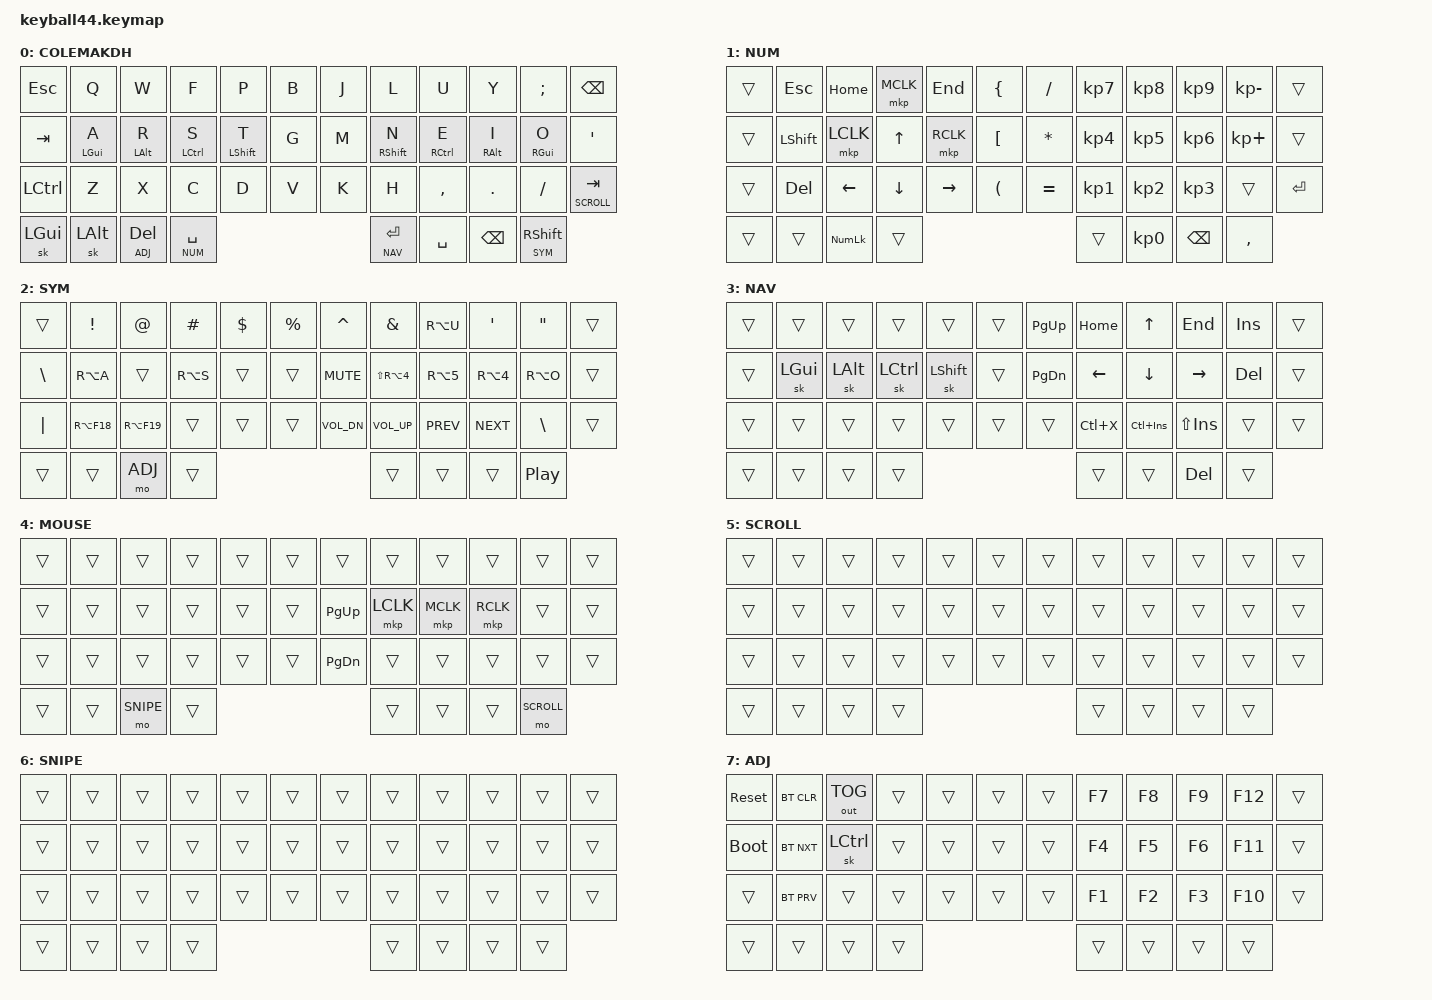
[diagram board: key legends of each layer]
// ─── Colemak-DH keymap for Keyball 44 ────────────────────────────────────────
//
// Ported from the Totem keymap (same user, 38-key board) with additions for
// the Keyball 44's extra outer column, larger thumb cluster, and trackball.
//
// Highlights:
//  • Colemak-DH base layout
//  • Timeless homerow mods (urob's approach — balanced + positional hold-tap)
//      Left:  A=GUI  R=ALT  S=CTRL  T=SFT
//      Right:             N=SFT  E=CTRL  I=ALT  O=GUI
//  • Bracket/symbol combos matching the Totem (horizontal adjacent-key pairs)
//  • NUM, SYM, NAV, ADJ layers matching Totem structure
//  • MOUSE layer (4) auto-activated by trackball, buttons on right home-row
//  • SCROLL (5) — hold from mouse-layer thumb for scroll-wheel trackball
//  • SNIPE  (6) — hold from mouse-layer thumb for precision trackball
//
// Reference: https://github.com/urob/zmk-config (timeless HRM approach)
// ─────────────────────────────────────────────────────────────────────────────

#define COLEMAKDH 0
#define NUM       1
#define SYM       2
#define NAV       3
#define MOUSE     4
#define SCROLL    5
#define SNIPE     6
#define ADJ       7

#include <behaviors/mouse_keys.dtsi>
#include <behaviors.dtsi>
#include <dt-bindings/zmk/bt.h>
#include <dt-bindings/zmk/keys.h>
#include <dt-bindings/zmk/mouse.h>
#include <dt-bindings/zmk/outputs.h>

// ─── Physical key position map ───────────────────────────────────────────────
//
//  ┌─────┬─────┬─────┬─────┬─────┬─────┐                   ┌─────┬─────┬─────┬─────┬─────┬─────┐
//  │  0  │  1  │  2  │  3  │  4  │  5  │                   │  6  │  7  │  8  │  9  │ 10  │ 11  │
//  ├─────┼─────┼─────┼─────┼─────┼─────┤                   ├─────┼─────┼─────┼─────┼─────┼─────┤
//  │ 12  │ 13  │ 14  │ 15  │ 16  │ 17  │                   │ 18  │ 19  │ 20  │ 21  │ 22  │ 23  │
//  ├─────┼─────┼─────┼─────┼─────┼─────┤                   ├─────┼─────┼─────┼─────┼─────┼─────┤
//  │ 24  │ 25  │ 26  │ 27  │ 28  │ 29  │                   │ 30  │ 31  │ 32  │ 33  │ 34  │ 35  │
//  └─────┴─────┴─────┼─────┼─────┼─────┼─────┐   ┌─────────┼─────┼─────┼─────┴─────┴─────┴─────┘
//                    │ 36  │ 37  │ 38  │ 39  │ 40 │   41    │ 42  │ 43  │
//                    └─────┴─────┴─────┴─────┴────┘─────────┴─────┴─────┘
//                                                  [trackball between 40..41]
//
// Left hand keys  (used in right-HRM positional check): 0-5, 12-17, 24-29
// Right hand keys (used in left-HRM positional check):  6-11, 18-23, 30-35
// Thumb keys (both HRMs treat these as "safe"):         36-43

#define KEYS_L 0 1 2 3 4 5 12 13 14 15 16 17 24 25 26 27 28 29
#define KEYS_R 6 7 8 9 10 11 18 19 20 21 22 23 30 31 32 33 34 35
#define THUMBS 36 37 38 39 40 41 42 43

// ─── Behavior overrides ───────────────────────────────────────────────────────

&nice_view_spi { cs-gpios = <&pro_micro 1 GPIO_ACTIVE_HIGH>; };

// Layer-tap: balanced so a quick tap+hold still fires the tap action
&lt {
    tapping-term-ms = <200>;
    flavor = "balanced";
    quick-tap-ms = <150>;
};

// Caps-word: keep rolling through _ and - without deactivating
&caps_word { continue-list = <UNDERSCORE MINUS>; };

/ {
    behaviors {
        // ── Left-hand homerow mods (timeless — urob) ─────────────────────
        //
        // Strategy:
        //   balanced  → hold fires if another key is pressed AND released within
        //               tapping-term; avoids waiting the full 280 ms in practice.
        //   require-prior-idle-ms → immediately resolves as tap when typed
        //               shortly after a previous keystroke (eliminates delays).
        //   hold-trigger-key-positions → mod only activates when the concurrent
        //               key is on the RIGHT hand or a thumb.
        //   hold-trigger-on-release → delays the positional check until the
        //               concurrent key is released; allows same-side HRM chording
        //               when held long enough (e.g. mouse-side mod + alpha).
        //
        hml: hml {
            compatible = "zmk,behavior-hold-tap";
            label = "HML";
            #binding-cells = <2>;
            flavor = "balanced";
            tapping-term-ms = <280>;
            quick-tap-ms = <175>;
            require-prior-idle-ms = <150>;
            bindings = <&kp>, <&kp>;
            hold-trigger-key-positions = <KEYS_R THUMBS>;
            hold-trigger-on-release;
        };

        // ── Right-hand homerow mods ───────────────────────────────────────
        hmr: hmr {
            compatible = "zmk,behavior-hold-tap";
            label = "HMR";
            #binding-cells = <2>;
            flavor = "balanced";
            tapping-term-ms = <280>;
            quick-tap-ms = <175>;
            require-prior-idle-ms = <150>;
            bindings = <&kp>, <&kp>;
            hold-trigger-key-positions = <KEYS_L THUMBS>;
            hold-trigger-on-release;
        };
    };

    // ── Combos (base layer only; 30 ms window matches the Totem) ─────────────
    //
    // Left side  — adjacent horizontal pairs produce bracket/paren symbols
    //   Row 0:  Q+W → ESC    W+F → {    F+P → }
    //   Row 1:  R+S → (      S+T → )
    //   Row 2:  X+C → [      C+D → ]
    //
    // Right side — adjacent horizontal pairs produce operator symbols
    //   Row 0:  L+U → -     U+Y → _
    //   Row 1:  N+E → *     E+I → =
    //   Row 2:  H+, → <     ,+. → >
    //
    combos {
        compatible = "zmk,combos";

        // Left — row 0
        combo_esc   { timeout-ms = <30>; key-positions = < 1  2>; bindings = <&kp ESC>;  layers = <COLEMAKDH>; };
        combo_lbrc  { timeout-ms = <30>; key-positions = < 2  3>; bindings = <&kp LBRC>; layers = <COLEMAKDH>; };
        combo_rbrc  { timeout-ms = <30>; key-positions = < 3  4>; bindings = <&kp RBRC>; layers = <COLEMAKDH>; };
        // Left — row 1
        combo_lpar  { timeout-ms = <30>; key-positions = <14 15>; bindings = <&kp LPAR>; layers = <COLEMAKDH>; };
        combo_rpar  { timeout-ms = <30>; key-positions = <15 16>; bindings = <&kp RPAR>; layers = <COLEMAKDH>; };
        // Left — row 2
        combo_lbkt  { timeout-ms = <30>; key-positions = <26 27>; bindings = <&kp LBKT>; layers = <COLEMAKDH>; };
        combo_rbkt  { timeout-ms = <30>; key-positions = <27 28>; bindings = <&kp RBKT>; layers = <COLEMAKDH>; };

        // Right — row 0
        combo_minus { timeout-ms = <30>; key-positions = < 7  8>; bindings = <&kp MINUS>; layers = <COLEMAKDH>; };
        combo_under { timeout-ms = <30>; key-positions = < 8  9>; bindings = <&kp UNDER>; layers = <COLEMAKDH>; };
        // Right — row 1
        combo_astrk { timeout-ms = <30>; key-positions = <19 20>; bindings = <&kp ASTRK>; layers = <COLEMAKDH>; };
        combo_equal { timeout-ms = <30>; key-positions = <20 21>; bindings = <&kp EQUAL>;  layers = <COLEMAKDH>; };
        // Right — row 2
        combo_lt    { timeout-ms = <30>; key-positions = <31 32>; bindings = <&kp LT>;    layers = <COLEMAKDH>; };
        combo_gt    { timeout-ms = <30>; key-positions = <32 33>; bindings = <&kp GT>;    layers = <COLEMAKDH>; };
    };

    keymap {
        compatible = "zmk,keymap";

// ━━━━━━━━━━━━━━━━━━━━━━━━━━━━━━━━━━━━━━━━━━━━━━━━━━━━━━━━━━━━━━━━━━━━━━━━━━━
// 0 — Colemak-DH  (homerow mods: GACS order  ◆ ⎇ ⎈ ⇧)
// ━━━━━━━━━━━━━━━━━━━━━━━━━━━━━━━━━━━━━━━━━━━━━━━━━━━━━━━━━━━━━━━━━━━━━━━━━━━
//  ┌──────┬──────┬──────┬──────┬──────┬──────┐         ┌──────┬──────┬──────┬──────┬──────┬──────┐
//  │ ESC  │  Q   │  W   │  F   │  P   │  B   │         │  J   │  L   │  U   │  Y   │  ;   │ BSPC │
//  ├──────┼──────┼──────┼──────┼──────┼──────┤         ├──────┼──────┼──────┼──────┼──────┼──────┤
//  │ TAB  │A/GUI │R/ALT │S/CTL │T/SFT │  G   │         │  M   │N/SFT │E/CTL │I/ALT │O/GUI │  '   │
//  ├──────┼──────┼──────┼──────┼──────┼──────┤         ├──────┼──────┼──────┼──────┼──────┼──────┤
//  │ CTL  │  Z   │  X   │  C   │  D   │  V   │         │  K   │  H   │  ,   │  .   │  /   │SCRL/TAB │
//  └──────┴──────┴──┬───┴──┬───┴──┬───┴──┬───┴──┬───┐  ├──┬───┴──┬───┴──────┴──────┴──────┴──────┘
//                   │sGUI  │sALT  │ADJ/⌦│NUM/␣ │NAV/⏎│  │  ␣    │   ⌫│SYM/RSFT│
//                   └──────┴──────┴──────┴──────┴─────┘  └──────┴──────┴──────┘
//
// CAPS = caps-word (auto-disables after the word; continues through _ and -)
// sGUI/sALT = sticky (one-shot) modifier — tap to apply to the next key only
        colemak_dh_layer {
            label = "COLEMAKDH";
            bindings = <
&kp ESC    &kp Q         &kp W         &kp F          &kp P          &kp B            &kp J          &kp L         &kp U         &kp Y         &kp SEMI    &kp BSPC
&kp TAB    &hml LGUI A   &hml LALT R   &hml LCTRL S   &hml LSHFT T   &kp G            &kp M          &hmr RSHFT N  &hmr RCTRL E  &hmr RALT I   &hmr RGUI O &kp SQT
&kp LCTRL &kp Z         &kp X         &kp C          &kp D          &kp V            &kp K          &kp H         &kp COMMA     &kp DOT       &kp FSLH    &lt SCROLL TAB
&sk LGUI   &sk LALT      &lt ADJ DEL   &lt NUM SPACE  &lt NAV RET    &kp SPACE  &kp BSPC                                                   &lt SYM RSHFT 
            >;
        };

// ━━━━━━━━━━━━━━━━━━━━━━━━━━━━━━━━━━━━━━━━━━━━━━━━━━━━━━━━━━━━━━━━━━━━━━━━━━━
// 1 — Num  (hold NUM/␣ thumb)
//     Left: navigation cluster       Right: numpad
// ━━━━━━━━━━━━━━━━━━━━━━━━━━━━━━━━━━━━━━━━━━━━━━━━━━━━━━━━━━━━━━━━━━━━━━━━━━━
//  ┌──────┬──────┬──────┬──────┬──────┬──────┐         ┌──────┬──────┬──────┬──────┬──────┬──────┐
//  │      │ ESC  │ HOME │ MCLK │ END  │  {   │         │  /   │  7   │  8   │  9   │  -   │      │
//  ├──────┼──────┼──────┼──────┼──────┼──────┤         ├──────┼──────┼──────┼──────┼──────┼──────┤
//  │      │ SFT  │ LCLK │   ↑  │ RCLk │  [   │         │  *   │  4   │  5   │  6   │  +   │      │
//  ├──────┼──────┼──────┼──────┼──────┼──────┤         ├──────┼──────┼──────┼──────┼──────┼──────┤
//  │      │ DEL  │ ←    │  ↓   │  →   │  (   │         │  =   │  1   │  2   │  3   │      │  ⏎   │
//  └──────┴──────┴──┬───┴──┬───┴──┬───┴──┬───┴──┬───┐  ├──┬───┴──┬───┴──────┴──────┴──────┴──────┘
//                   │      │      │NUMLK │  ▓▓▓  │      │  │  0   │ BSPC │  ,   │
//                   └──────┴──────┴──────┴───────┴──────┘  └──────┴──────┴──────┘
        num_layer {
            label = "NUM";
            bindings = <
&trans     &kp ESC       &kp HOME      &mkp MCLK      &kp END        &kp LBRC         &kp FSLH       &kp KP_N7     &kp KP_N8     &kp KP_N9     &kp KP_MINUS &trans
&trans     &kp LSHFT     &mkp LCLK     &kp UP         &mkp RCLK      &kp LBKT         &kp ASTRK      &kp KP_N4     &kp KP_N5     &kp KP_N6     &kp KP_PLUS  &trans
&trans     &kp DEL       &kp LEFT      &kp DOWN       &kp RIGHT      &kp LPAR         &kp EQUAL      &kp KP_N1     &kp KP_N2     &kp KP_N3     &trans       &kp RET
&trans     &trans        &kp KP_NLCK   &trans         &trans         &kp KP_N0        &kp BSPC                                                  &kp COMMA
            >;
        };

// ━━━━━━━━━━━━━━━━━━━━━━━━━━━━━━━━━━━━━━━━━━━━━━━━━━━━━━━━━━━━━━━━━━━━━━━━━━━
// 2 — Sym  (hold SYM/⌫ thumb)
//     Symbols / German umlauts / Media controls
// ━━━━━━━━━━━━━━━━━━━━━━━━━━━━━━━━━━━━━━━━━━━━━━━━━━━━━━━━━━━━━━━━━━━━━━━━━━━
//  ┌──────┬──────┬──────┬──────┬──────┬──────┐         ┌──────┬──────┬──────┬──────┬──────┬──────┐
//  │      │  !   │  @   │  #   │  $   │  %   │         │  ^   │  &   │  Ü   │  '   │  "   │      │
//  ├──────┼──────┼──────┼──────┼──────┼──────┤         ├──────┼──────┼──────┼──────┼──────┼──────┤
//  │  \   │  Ä   │      │  ß   │      │      │         │ MUTE │  ¥   │  €   │  £   │  Ö   │      │
//  ├──────┼──────┼──────┼──────┼──────┼──────┤         ├──────┼──────┼──────┼──────┼──────┼──────┤
//  │  |   │EMAIL1│EMAIL2│      │      │      │         │ VOL- │ VOL+ │ PRV  │ NXT  │  \   │      │
//  └──────┴──────┴──┬───┴──┬───┴──┬───┴──┬───┴──┬───┐  ├──┬───┴──┬───┴──────┴──────┴──────┴──────┘
//                   │      │      │ ADJ  │      │      │  │      │  ▓▓▓ │  ⏯   │
//                   └──────┴──────┴──────┴───────┴──────┘  └──────┴──────┴──────┘
//
// EMAIL1/2 = RA(F18)/RA(F19) — assign these in your OS text expander
// Ü/Ä/ß/Ö  = AltGr combos for German (identical to Totem layout)
        sym_layer {
            label = "SYM";
            bindings = <
&trans     &kp EXCL      &kp AT        &kp HASH       &kp DLLR       &kp PRCNT        &kp CARET      &kp AMPS      &kp RA(U)     &kp SQT       &kp DQT      &trans
&kp BSLH   &kp RA(A)     &trans        &kp RA(S)      &trans         &trans           &kp C_MUTE     &kp LS(RA(N4)) &kp RA(N5)   &kp RA(N4)    &kp RA(O)    &trans
&kp PIPE   &kp RA(F18)   &kp RA(F19)   &trans         &trans         &trans           &kp C_VOL_DN   &kp C_VOL_UP  &kp C_PREV    &kp C_NEXT    &kp BSLH     &trans
&trans     &trans        &mo ADJ       &trans         &trans         &trans           &trans                                                    &kp C_PP
            >;
        };

// ━━━━━━━━━━━━━━━━━━━━━━━━━━━━━━━━━━━━━━━━━━━━━━━━━━━━━━━━━━━━━━━━━━━━━━━━━━━
// 3 — Nav  (hold NAV/⏎ thumb)
//     Left: one-shot mods for cross-hand shortcuts
//     Right: navigation cluster (arrows, page, home/end, clipboard)
// ━━━━━━━━━━━━━━━━━━━━━━━━━━━━━━━━━━━━━━━━━━━━━━━━━━━━━━━━━━━━━━━━━━━━━━━━━━━
//  ┌──────┬──────┬──────┬──────┬──────┬──────┐         ┌──────┬──────┬──────┬──────┬──────┬──────┐
//  │      │      │      │      │      │      │         │ PGUP │ HOME │  ↑   │ END  │ INS  │      │
//  ├──────┼──────┼──────┼──────┼──────┼──────┤         ├──────┼──────┼──────┼──────┼──────┼──────┤
//  │      │s-GUI │s-ALT │s-CTL │s-SFT │      │         │ PGDN │  ←   │  ↓   │  →   │ DEL  │      │
//  ├──────┼──────┼──────┼──────┼──────┼──────┤         ├──────┼──────┼──────┼──────┼──────┼──────┤
//  │      │      │      │      │      │      │         │      │ CUT  │ COPY │ PSTE │      │      │
//  └──────┴──────┴──┬───┴──┬───┴──┬───┴──┬───┴──┬───┐  ├──┬───┴──┬───┴──────┴──────┴──────┴──────┘
//                   │      │      │      │      │  ▓▓▓ │  │      │ DEL  │      │
//                   └──────┴──────┴──────┴───────┴──────┘  └──────┴──────┴──────┘
//
// CUT/COPY/PASTE = Ctrl+X / Ctrl+Insert / Shift+Insert (universal shortcuts)
        nav_layer {
            label = "NAV";
            bindings = <
&trans     &trans        &trans        &trans         &trans         &trans           &kp PG_UP      &kp HOME      &kp UP        &kp END       &kp INS      &trans
&trans     &sk LGUI      &sk LALT      &sk LCTRL      &sk LSHFT      &trans           &kp PG_DN      &kp LEFT      &kp DOWN      &kp RIGHT     &kp DEL      &trans
&trans     &trans        &trans        &trans         &trans         &trans           &trans         &kp LC(X)     &kp LC(INS)   &kp LS(INS)   &trans       &trans
&trans     &trans        &trans        &trans         &trans         &trans           &kp DEL                                                  &trans
            >;
        };

// ━━━━━━━━━━━━━━━━━━━━━━━━━━━━━━━━━━━━━━━━━━━━━━━━━━━━━━━━━━━━━━━━━━━━━━━━━━━
// 4 — Mouse  (auto-activated by trackball via automouse-layer = <4>)
//
//  Trackball moves the cursor automatically when this layer is active.
//  • Right home-row: LCLK / MCLK / RCLK for easy clicking without thumb strain
//  • Right thumbs:   LCLK / RCLK for comfortable clicking while scrolling
//  • Left thumb 38:  hold for SNIPE mode (slow/precise — activates layer 6)
//  • Right thumb 43: hold for SCROLL mode (scroll-wheel — activates layer 5)
// ━━━━━━━━━━━━━━━━━━━━━━━━━━━━━━━━━━━━━━━━━━━━━━━━━━━━━━━━━━━━━━━━━━━━━━━━━━━
//  ┌──────┬──────┬──────┬──────┬──────┬──────┐         ┌──────┬──────┬──────┬──────┬──────┬──────┐
//  │      │      │      │      │      │      │         │      │      │      │      │      │      │
//  ├──────┼──────┼──────┼──────┼──────┼──────┤         ├──────┼──────┼──────┼──────┼──────┼──────┤
//  │      │      │      │      │      │      │         │ PGUP │ LCLK │ MCLK │ RCLK │      │      │
//  ├──────┼──────┼──────┼──────┼──────┼──────┤         ├──────┼──────┼──────┼──────┼──────┼──────┤
//  │      │      │      │      │      │      │         │ PGDN │      │      │      │      │      │
//  └──────┴──────┴──┬───┴──┬───┴──┬───┴──┬───┴──┬───┐  ├──────┬──────┬──────┴──────┴──────┴──────┴ 
//                   │      │      │SNIPE │      │   │  │      │      │ SCRL │
//                   └──────┴──────┴──────┴──────┴───┘  └──────┴──────┴──────┘
        mouse_layer {
            label = "MOUSE";
            bindings = <
&trans     &trans        &trans        &trans         &trans         &trans           &trans         &trans        &trans        &trans        &trans       &trans
&trans     &trans        &trans        &trans         &trans         &trans           &kp PG_UP      &mkp LCLK     &mkp MCLK     &mkp RCLK     &trans       &trans
&trans     &trans        &trans        &trans         &trans         &trans           &kp PG_DN      &trans        &trans        &trans        &trans       &trans
&trans     &trans        &mo SNIPE     &trans         &trans         &trans           &trans                                                 &mo SCROLL
            >;
        };

// ━━━━━━━━━━━━━━━━━━━━━━━━━━━━━━━━━━━━━━━━━━━━━━━━━━━━━━━━━━━━━━━━━━━━━━━━━━━
// 5 — Scroll  (scroll-layers = <5> in trackball overlay)
//     Hold SCR/⇥ thumb (pos 43) OR mo SCROLL in mouse layer.
//     Trackball scrolls instead of moving the pointer.
//     All keys fall through to lower layers.
// ━━━━━━━━━━━━━━━━━━━━━━━━━━━━━━━━━━━━━━━━━━━━━━━━━━━━━━━━━━━━━━━━━━━━━━━━━━━
        scroll_layer {
            label = "SCROLL";
            bindings = <
&trans     &trans        &trans        &trans         &trans         &trans           &trans         &trans        &trans        &trans        &trans       &trans
&trans     &trans        &trans        &trans         &trans         &trans           &trans         &trans        &trans        &trans        &trans       &trans
&trans     &trans        &trans        &trans         &trans         &trans           &trans         &trans        &trans        &trans        &trans       &trans
&trans     &trans        &trans        &trans         &trans         &trans           &trans                                                  &trans
            >;
        };

// ━━━━━━━━━━━━━━━━━━━━━━━━━━━━━━━━━━━━━━━━━━━━━━━━━━━━━━━━━━━━━━━━━━━━━━━━━━━
// 6 — Snipe  (snipe-layers = <6> in trackball overlay)
//     Hold mo SNIPE (pos 38 while MOUSE is active).
//     Trackball moves with reduced sensitivity for precise cursor placement.
//     All keys fall through to lower layers.
// ━━━━━━━━━━━━━━━━━━━━━━━━━━━━━━━━━━━━━━━━━━━━━━━━━━━━━━━━━━━━━━━━━━━━━━━━━━━
        snipe_layer {
            label = "SNIPE";
            bindings = <
&trans     &trans        &trans        &trans         &trans         &trans           &trans         &trans        &trans        &trans        &trans       &trans
&trans     &trans        &trans        &trans         &trans         &trans           &trans         &trans        &trans        &trans        &trans       &trans
&trans     &trans        &trans        &trans         &trans         &trans           &trans         &trans        &trans        &trans        &trans       &trans
&trans     &trans        &trans        &trans         &trans         &trans           &trans                                                  &trans
            >;
        };

// ━━━━━━━━━━━━━━━━━━━━━━━━━━━━━━━━━━━━━━━━━━━━━━━━━━━━━━━━━━━━━━━━━━━━━━━━━━━
// 7 — Adj  (hold ADJ/⌦ thumb, or mo ADJ while SYM is held)
//     Bluetooth profiles / system reset / function keys
// ━━━━━━━━━━━━━━━━━━━━━━━━━━━━━━━━━━━━━━━━━━━━━━━━━━━━━━━━━━━━━━━━━━━━━━━━━━━
//  ┌──────┬──────┬──────┬──────┬──────┬──────┐         ┌──────┬──────┬──────┬──────┬──────┬──────┐
//  │RESET │BT CLR│OUT TG│      │      │      │         │      │  F7  │  F8  │  F9  │  F12 │      │
//  ├──────┼──────┼──────┼──────┼──────┼──────┤         ├──────┼──────┼──────┼──────┼──────┼──────┤
//  │BOOTLD│BT NXT│s-CTL │      │      │      │         │      │  F4  │  F5  │  F6  │  F11 │      │
//  ├──────┼──────┼──────┼──────┼──────┼──────┤         ├──────┼──────┼──────┼──────┼──────┼──────┤
//  │      │BT PRV│      │      │      │      │         │      │  F1  │  F2  │  F3  │  F10 │      │
//  └──────┴──────┴──┬───┴──┬───┴──┬───┴──┬───┴──┬───┐  ├──┬───┴──┬───┴──────┴──────┴──────┴──────┘
//                   │      │      │  ▓▓▓  │      │      │  │      │      │      │
//                   └──────┴──────┴──────┴───────┴──────┘  └──────┴──────┴──────┘
        adj_layer {
            label = "ADJ";
            bindings = <
&sys_reset  &bt BT_CLR   &out OUT_TOG  &trans         &trans         &trans           &trans         &kp F7        &kp F8        &kp F9        &kp F12      &trans
&bootloader &bt BT_NXT   &sk LCTRL     &trans         &trans         &trans           &trans         &kp F4        &kp F5        &kp F6        &kp F11      &trans
&trans      &bt BT_PRV   &trans        &trans         &trans         &trans           &trans         &kp F1        &kp F2        &kp F3        &kp F10      &trans
&trans      &trans        &trans        &trans         &trans         &trans           &trans                                                  &trans
            >;
        };
    };
};
